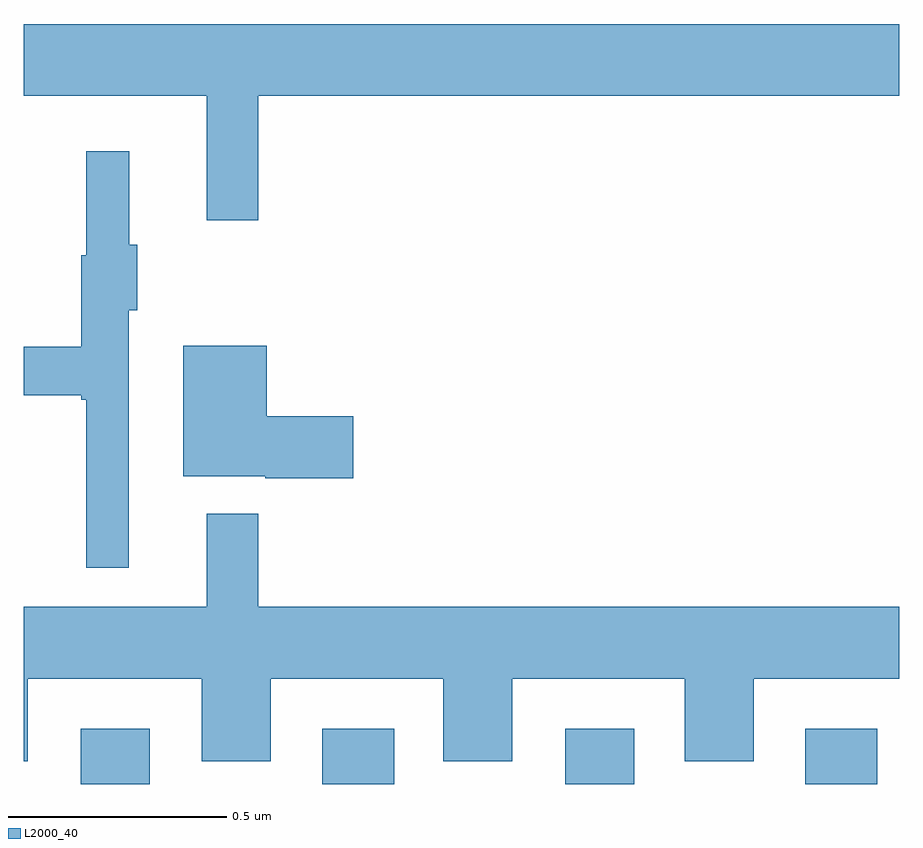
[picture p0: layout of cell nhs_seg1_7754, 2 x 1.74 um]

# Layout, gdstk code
import gdstk
lib = gdstk.Library(unit=1e-6, precision=1e-09)
def R(c, l, rs):  # rectangles x0, y0, x1, y1
    for r in rs: c.add(gdstk.rectangle(r[:2], r[2:], *l))
def P(c, l, *ps):  # polygons
    for p in ps: c.add(gdstk.Polygon(p, *l))
L2000_40 = (2000, 40)

nhs_seg1_7754 = lib.new_cell('nhs_seg1_7754')
R(nhs_seg1_7754, L2000_40, [(208.13,510.199,208.288,510.325), (208.682,510.199,208.846,510.325), (209.237,510.199,209.395,510.325), (209.786,510.199,209.95,510.325)])
P(nhs_seg1_7754, L2000_40, [(208.535,511.772),(210,511.772),(210,511.936),(208,511.936),(208,511.772),(208.418,511.772),(208.418,511.488),(208.535,511.488)],
  [(208.239,511.282),(208.259,511.282),(208.259,511.432),(208.241,511.432),(208.241,511.645),(208.142,511.645),(208.142,511.407),(208.131,511.407),(208.131,511.198),(208,511.198),(208,511.087),(208.131,511.087),(208.131,511.077),(208.142,511.077),(208.142,510.693),(208.239,510.693)],
  [(208.753,511.04),(208.555,511.04),(208.555,511.201),(208.364,511.201),(208.364,510.902),(208.551,510.902),(208.551,510.898),(208.753,510.898)],
  [(208.009,510.44),(208.406,510.44),(208.406,510.251),(208.564,510.251),(208.564,510.44),(208.958,510.44),(208.958,510.251),(209.116,510.251),(209.116,510.44),(209.51,510.44),(209.51,510.251),(209.668,510.251),(209.668,510.44),(210,510.44),(210,510.604),(208.535,510.604),(208.535,510.817),(208.418,510.817),(208.418,510.604),(208,510.604),(208,510.251),(208.009,510.251)])

lib.write_gds('nhs_seg1_7754.gds')
